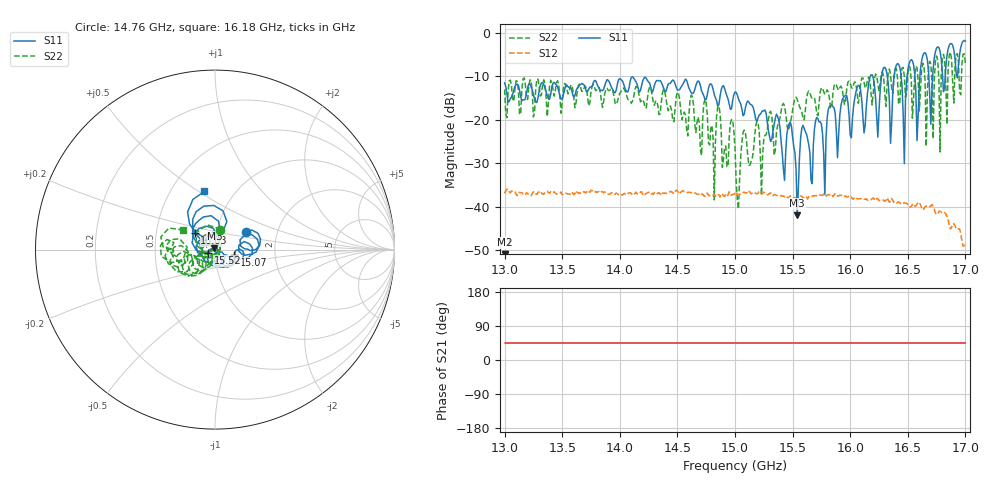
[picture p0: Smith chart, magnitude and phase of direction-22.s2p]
!Keysight Technologies,P9374A,MY57211810,A.19.30.04
!Date: Friday, May 02, 2025 08:58:56
!Correction: S11(Off)
!S21(Off)
!S12(Off)
!S22(Off)
!S2P File: Measurements: S11, S21, S12, S22:
# Hz S  dB  R 50
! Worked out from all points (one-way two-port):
!   401 points, 13 GHz to 17 GHz, reference 50 ohm
!   highest |S21| = - dB at 13 GHz (marker M1); lowest = - dB at 13 GHz (marker M2)
!   lowest |S11| = -42.0 dB at 15.54 GHz (marker M3), VSWR 1.02, Z = 49.7 + j0.715 ohm
!   |S11| at or under -10 dB: start of sweep to 16.17 GHz; 16.19564 GHz to 16.27275 GHz (77.11 MHz wide, 0.475 % of centre); 16.32252 GHz to 16.3808 GHz (58.29 MHz wide, 0.356 % of centre) (the widest 3 of 8)
!   |S22| runs from -40.6 to -4.4 dB; largest |S21 - S12| = 0.016
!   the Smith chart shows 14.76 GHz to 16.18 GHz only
!   S11 on the Smith chart (normalised r, x): 14.76 GHz: 1.38, +0.28; 15.07 GHz: 1.24, -0.07; 15.52 GHz: 0.93, -0.03; 16.03 GHz: 0.78, +0.15; 16.18 GHz: 0.73, +0.53
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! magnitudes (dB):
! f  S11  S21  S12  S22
! 13 GHz  -11.5  -  -36.9  -13.0
! 13.67 GHz  -11.6  -  -36.7  -13.4
! 14.34 GHz  -11.0  -  -36.8  -18.8
! 14.76 GHz  -14.1  -  -36.9  -19.0
! 15 GHz  -13.6  -  -37.0  -26.5
! 15.03 GHz  -15.2  -  -37.3  -40.6
! 15.07 GHz  -19.0  -  -36.7  -22.9
! 15.48 GHz  -20.5  -  -37.5  -20.8
! 15.52 GHz  -27.5  -  -38.0  -15.1
! 15.54 GHz  -42.0  -  -37.9  -15.3
! 15.59 GHz  -21.3  -  -38.0  -19.5
! 15.67 GHz  -34.7  -  -37.6  -15.0
! 16.03 GHz  -16.7  -  -38.2  -11.7
! 16.18 GHz  -9.6  -  -38.4  -13.5
! 16.34 GHz  -15.5  -  -39.0  -8.3
! 16.41 GHz  -7.0  -  -39.0  -10.2
! 16.47 GHz  -30.1  -  -39.1  -10.0
! 16.52 GHz  -6.5  -  -40.2  -7.9
! 16.58 GHz  -24.8  -  -39.4  -8.0
! 16.64 GHz  -4.6  -  -40.5  -7.5
! 16.7 GHz  -21.0  -  -39.8  -7.2
! 17 GHz  -1.9  -  -48.7  -6.9
